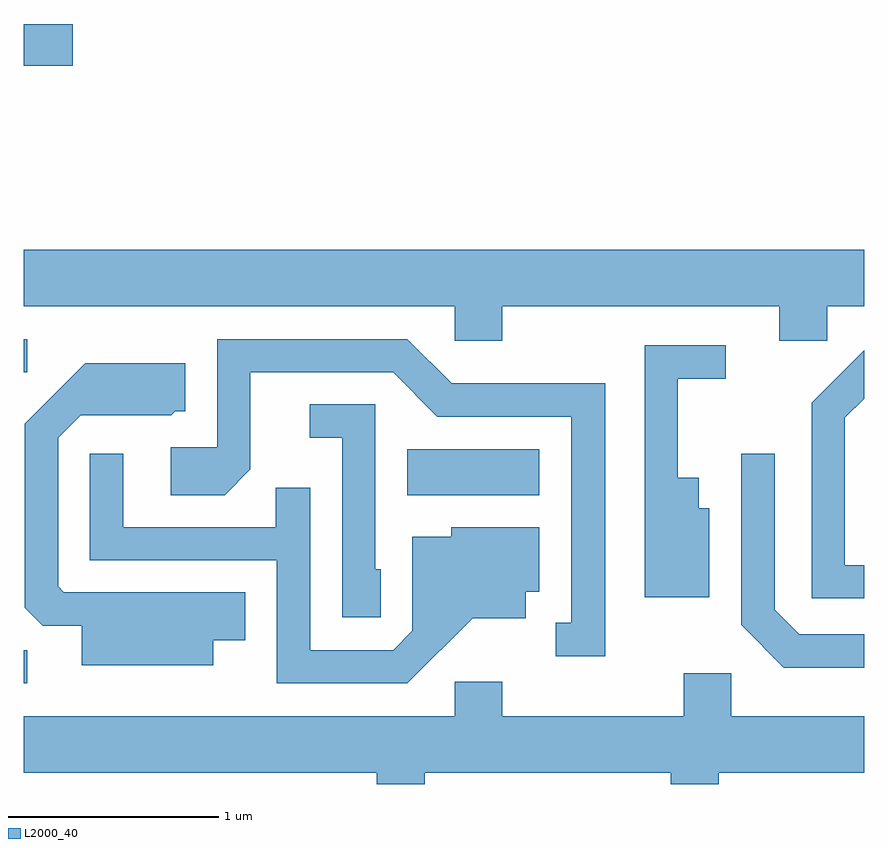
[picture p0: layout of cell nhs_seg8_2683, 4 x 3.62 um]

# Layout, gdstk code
import gdstk
lib = gdstk.Library(unit=1e-6, precision=1e-09)
def R(c, l, rs):  # rectangles x0, y0, x1, y1
    for r in rs: c.add(gdstk.rectangle(r[:2], r[2:], *l))
def P(c, l, *ps):  # polygons
    for p in ps: c.add(gdstk.Polygon(p, *l))
L2000_40 = (2000, 40)

nhs_seg8_2683 = lib.new_cell('nhs_seg8_2683')
R(nhs_seg8_2683, L2000_40, [(265.611,1856.821,265.628,1856.979), (267.436,1857.716,268.064,1857.934), (265.611,1858.301,265.628,1858.459), (265.611,1859.761,265.844,1859.959)])
P(nhs_seg8_2683, L2000_40, [(267.889,1858.616),(269.206,1858.616),(269.206,1858.451),(269.434,1858.451),(269.434,1858.616),(269.611,1858.616),(269.611,1858.884),(265.611,1858.884),(265.611,1858.616),(267.661,1858.616),(267.661,1858.451),(267.889,1858.451)],
  [(268.379,1858.249),(267.647,1858.249),(267.437,1858.459),(266.531,1858.459),(266.531,1857.944),(266.311,1857.944),(266.311,1857.716),(266.567,1857.716),(266.689,1857.839),(266.689,1858.301),(267.369,1858.301),(267.579,1858.091),(268.216,1858.091),(268.216,1857.109),(268.143,1857.109),(268.143,1856.951),(268.379,1856.951)],
  [(268.874,1857.654),(268.824,1857.654),(268.824,1857.799),(268.724,1857.799),(268.724,1858.271),(268.953,1858.271),(268.953,1858.429),(268.566,1858.429),(268.566,1857.231),(268.874,1857.231)],
  [(269.611,1857.384),(269.519,1857.384),(269.519,1858.084),(269.611,1858.176),(269.611,1858.406),(269.361,1858.157),(269.361,1857.226),(269.611,1857.226)],
  [(266.514,1857.026),(266.664,1857.026),(266.664,1857.254),(265.802,1857.254),(265.774,1857.282),(265.774,1857.989),(265.882,1858.096),(266.312,1858.096),(266.332,1858.116),(266.379,1858.116),(266.379,1858.344),(265.904,1858.344),(265.616,1858.057),(265.616,1857.182),(265.702,1857.096),(265.886,1857.096),(265.886,1856.906),(266.514,1856.906)],
  [(267.309,1857.364),(267.284,1857.364),(267.284,1858.149),(266.973,1858.149),(266.973,1857.991),(267.126,1857.991),(267.126,1857.136),(267.309,1857.136)],
  [(269.611,1857.054),(269.302,1857.054),(269.184,1857.172),(269.184,1857.913),(269.026,1857.913),(269.026,1857.099),(269.229,1856.896),(269.611,1856.896)],
  [(267.747,1857.131),(267.999,1857.131),(267.999,1857.256),(268.064,1857.256),(268.064,1857.564),(267.646,1857.564),(267.646,1857.519),(267.461,1857.519),(267.461,1857.072),(267.369,1856.979),(266.974,1856.979),(266.974,1857.753),(266.811,1857.753),(266.811,1857.564),(266.084,1857.564),(266.084,1857.913),(265.926,1857.913),(265.926,1857.406),(266.816,1857.406),(266.816,1856.821),(267.437,1856.821)],
  [(267.519,1856.396),(268.691,1856.396),(268.691,1856.342),(268.919,1856.342),(268.919,1856.396),(269.611,1856.396),(269.611,1856.664),(268.979,1856.664),(268.979,1856.869),(268.751,1856.869),(268.751,1856.664),(267.889,1856.664),(267.889,1856.829),(267.661,1856.829),(267.661,1856.664),(265.611,1856.664),(265.611,1856.396),(267.291,1856.396),(267.291,1856.342),(267.519,1856.342)])

lib.write_gds('nhs_seg8_2683.gds')
